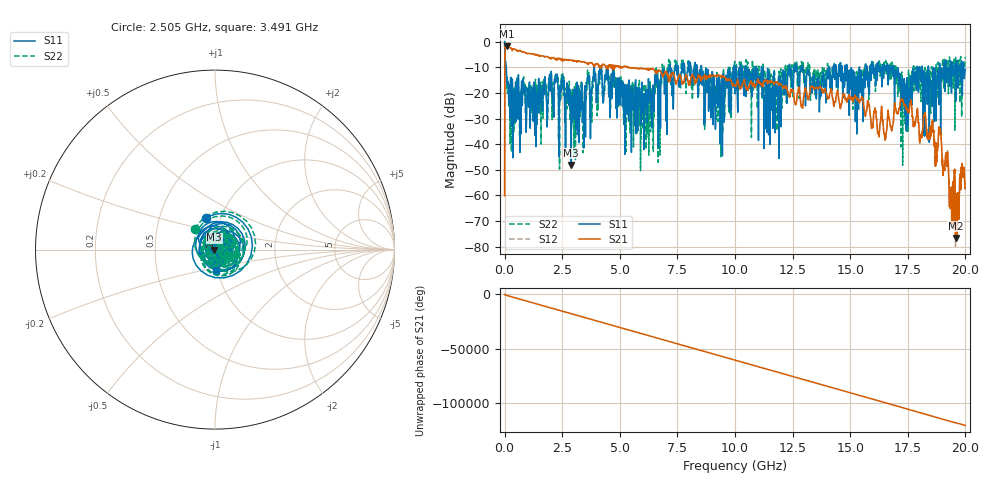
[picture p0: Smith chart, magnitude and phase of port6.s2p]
! MS46122B
! 2250307/22442219
! 2/20/2026 8:59:14 AM
! C:\USERS\SPARKY\DOCUMENTS\VNA_DATA\FEB20_2026\PORT6.S2P
! CHANNEL.1
! TR.MEASUREMENT
! RAW.DATA
# GHZ S RI R 50.0
! FREQ.GHZ  S11RE  S11IM  S21RE  S21IM  S12RE  S12IM  S22RE  S22IM
!; PortSelection: Port_12
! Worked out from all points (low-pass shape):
!   10001 points, 1 MHz to 20 GHz, reference 50 ohm
!   highest |S21| = -1.91 dB at 93 MHz (marker M1); lowest = -76.5 dB at 19.57 GHz (marker M2)
!   |S21| within 3 dB of the highest: 20.05 MHz to 1.246 GHz (1.226 GHz wide, 194 % of centre)
!   lowest |S11| = -48.1 dB at 2.895 GHz (marker M3), VSWR 1.01, Z = 49.6 + j0.0163 ohm
!   |S11| at or under -10 dB: 75.77 MHz to 3.88 GHz (3.804 GHz wide, 192 % of centre); 4.437 GHz to 7.161 GHz (2.724 GHz wide, 47 % of centre); 8.552 GHz to 9.953 GHz (1.401 GHz wide, 15.1 % of centre) (the widest 3 of 67)
!   |S22| runs from -50.3 to -0.2 dB; largest |S21 - S12| = 0.068
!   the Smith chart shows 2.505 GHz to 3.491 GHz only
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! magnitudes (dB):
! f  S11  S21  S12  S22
! 1 MHz  0.4  -60.1  -60.2  -0.2
! 93 MHz  -15.0  -1.9  -2.0  -18.2
! 435 MHz  -20.0  -3.0  -3.1  -20.0
! 2.243 GHz  -15.0  -6.6  -6.7  -14.6
! 2.895 GHz  -48.1  -7.3  -7.3  -26.5
! 3.335 GHz  -17.6  -7.9  -8.0  -17.4
! 4.139 GHz  -10.9  -9.8  -10.0  -11.9
! 5.245 GHz  -19.1  -9.7  -9.7  -28.0
! 6.669 GHz  -27.8  -11.2  -11.2  -33.3
! 7.751 GHz  -11.9  -15.8  -15.9  -7.5
! 9.361 GHz  -20.5  -13.3  -13.2  -32.2
! 10 GHz  -19.8  -17.4  -16.7  -8.7
! 11.55 GHz  -23.7  -15.5  -15.6  -13.3
! 12.64 GHz  -8.9  -24.5  -24.5  -11.5
! 13.33 GHz  -20.1  -17.3  -17.4  -16.4
! 16.67 GHz  -11.9  -29.5  -29.5  -11.6
! 17.36 GHz  -16.0  -25.0  -25.2  -21.4
! 17.76 GHz  -14.0  -32.7  -32.8  -11.3
! 18.88 GHz  -8.5  -34.5  -35.0  -11.9
! 19.39 GHz  -19.6  -59.6  -60.3  -8.5
! 19.57 GHz  -10.1  -76.5  -79.8  -6.8
! 20 GHz  -10.8  -57.0  -57.8  -6.1
